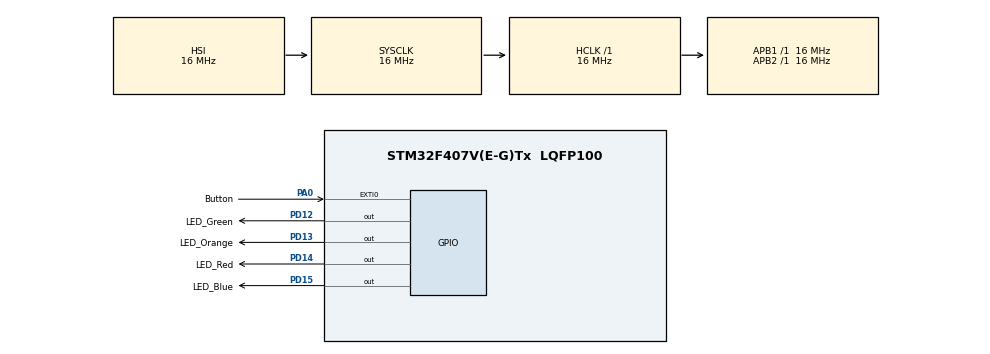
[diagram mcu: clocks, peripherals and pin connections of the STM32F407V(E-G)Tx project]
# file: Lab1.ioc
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Mcu.Family=STM32F4
Mcu.Name=STM32F407V(E-G)Tx
Mcu.Package=LQFP100
NVIC.EXTI0_IRQn=true\:0\:0\:false\:false\:true\:true\:true\:true
NVIC.PriorityGroup=NVIC_PRIORITYGROUP_4
PA0-WKUP.GPIO_Label=Button
PA0-WKUP.Signal=GPXTI0
PA13.Mode=Serial_Wire
PA13.Signal=SYS_JTMS-SWDIO
PA14.Mode=Serial_Wire
PA14.Signal=SYS_JTCK-SWCLK
PD12.GPIO_Label=LED_Green
PD12.Signal=GPIO_Output
PD13.GPIO_Label=LED_Orange
PD13.Signal=GPIO_Output
PD14.GPIO_Label=LED_Red
PD14.Signal=GPIO_Output
PD15.GPIO_Label=LED_Blue
PD15.Signal=GPIO_Output
ProjectManager.HeapSize=0x200
ProjectManager.StackSize=0x400
ProjectManager.TargetToolchain=STM32CubeIDE
RCC.AHBFreq_Value=16000000
RCC.APB1Freq_Value=16000000
RCC.APB2Freq_Value=16000000
RCC.CortexFreq_Value=16000000
RCC.HSE_VALUE=25000000
RCC.HSI_VALUE=16000000
RCC.LSE_VALUE=32768
RCC.SYSCLKFreq_VALUE=16000000
RCC.VCOOutputFreq_Value=192000000
board=custom

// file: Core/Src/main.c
/* USER CODE BEGIN Header */
/**
  ******************************************************************************
  * @file           : main.c
  * @brief          : Main program body
  ******************************************************************************
  * @attention
  *
  * Copyright (c) 2024 STMicroelectronics.
  * All rights reserved.
  *
  * This software is licensed under terms that can be found in the LICENSE file
  * in the root directory of this software component.
  * If no LICENSE file comes with this software, it is provided AS-IS.
  *
  ******************************************************************************
  */
/* USER CODE END Header */
#include "main.h"
#include "gpio.h"

/* USER CODE BEGIN Includes */
#include "leds.h"
/* USER CODE END Includes */

/* USER CODE BEGIN PTD */
typedef enum
{
	FORWARD = 0,
	REVERSE = 1
}direction_e_t;

/*typedef enum
{
	FLAG_TIM6_IT_UPDATE = 0
}flag_e_t; */
/* USER CODE END PTD */

/* USER CODE BEGIN PM */

//#define FLAG_SET(flag) flags |= (1 << flag)
//#define FLAG_RESET(flag) flags &= (~(1 << flag))
//#define FLAG_CHECK(flag) (flags == (1 << flag))

/* USER CODE END PM */

/* USER CODE BEGIN PV */
//uint32_t flags = 0;

static uint32_t timeout = 300;
static direction_e_t diraction = FORWARD;
/* USER CODE END PV */

void SystemClock_Config(void);
/* USER CODE BEGIN PFP */
void LED_Blink(leds_color_e_t color, uint32_t timeout);
void LED_Circle_Blink(direction_e_t direction, uint32_t timeout);
/* USER CODE END PFP */

int main(void)
{

  /* MCU Configuration--------------------------------------------------------*/

  /* Reset of all peripherals, Initializes the Flash interface and the Systick. */
  HAL_Init();

  /* USER CODE BEGIN Init */
  leds_init();
  /* USER CODE END Init */

  /* Configure the system clock */
  SystemClock_Config();

  /* Initialize all configured peripherals */
  MX_GPIO_Init();
  /* USER CODE BEGIN 2 */
  /*htim6.Init.Period = 500;
  HAL_TIM_Base_Init(&htim6);
  HAL_TIM_Base_Start_IT(&htim6);*/

  /* USER CODE END 2 */

  /* Infinite loop */
  /* USER CODE BEGIN WHILE */
  while (1)
  {
	LED_Circle_Blink(diraction, timeout);
    /* USER CODE END WHILE */

  }
}

void SystemClock_Config(void)
{
  RCC_OscInitTypeDef RCC_OscInitStruct = {0};
  RCC_ClkInitTypeDef RCC_ClkInitStruct = {0};

  /** Configure the main internal regulator output voltage
  */
  __HAL_RCC_PWR_CLK_ENABLE();
  __HAL_PWR_VOLTAGESCALING_CONFIG(PWR_REGULATOR_VOLTAGE_SCALE1);

  /** Initializes the RCC Oscillators according to the specified parameters
  * in the RCC_OscInitTypeDef structure.
  */
  RCC_OscInitStruct.OscillatorType = RCC_OSCILLATORTYPE_HSI;
  RCC_OscInitStruct.HSIState = RCC_HSI_ON;
  RCC_OscInitStruct.HSICalibrationValue = RCC_HSICALIBRATION_DEFAULT;
  RCC_OscInitStruct.PLL.PLLState = RCC_PLL_NONE;
  if (HAL_RCC_OscConfig(&RCC_OscInitStruct) != HAL_OK)
  {
    Error_Handler();
  }

  /** Initializes the CPU, AHB and APB buses clocks
  */
  RCC_ClkInitStruct.ClockType = RCC_CLOCKTYPE_HCLK|RCC_CLOCKTYPE_SYSCLK
                              |RCC_CLOCKTYPE_PCLK1|RCC_CLOCKTYPE_PCLK2;
  RCC_ClkInitStruct.SYSCLKSource = RCC_SYSCLKSOURCE_HSI;
  RCC_ClkInitStruct.AHBCLKDivider = RCC_SYSCLK_DIV1;
  RCC_ClkInitStruct.APB1CLKDivider = RCC_HCLK_DIV1;
  RCC_ClkInitStruct.APB2CLKDivider = RCC_HCLK_DIV1;

  if (HAL_RCC_ClockConfig(&RCC_ClkInitStruct, FLASH_LATENCY_0) != HAL_OK)
  {
    Error_Handler();
  }
}

/* USER CODE BEGIN 4 */
void LED_Blink(leds_color_e_t color, uint32_t timeout)
{
	leds_set(color, ON);
	HAL_Delay(timeout);
	leds_set(color, OFF);
	HAL_Delay(timeout);
}

void LED_Circle_Blink(direction_e_t direction, uint32_t timeout)
{
	switch (direction)
	{
	    case FORWARD:
	    	LED_Blink(GREEN, timeout);
	    	LED_Blink(ORANGE, timeout);
	    	LED_Blink(RED, timeout);
	    	LED_Blink(BLUE, timeout);
	    	break;

	    case REVERSE:
	    	LED_Blink(BLUE, timeout);
	    	LED_Blink(RED, timeout);
	    	LED_Blink(ORANGE, timeout);
	    	LED_Blink(GREEN, timeout);
	    	break;
	}
}

void HAL_GPIO_EXTI_Callback(uint16_t GPIO_Pin)
{
	if (GPIO_Pin == Button_Pin)
	{
		diraction = !diraction;
	}
}

/*void HAL_TIM_PriodElapsedCallback(TIM_HandleTypeDef *htim)
{
	if (htim == &htim6)
	{

	}
}*/

/* USER CODE END 4 */

void Error_Handler(void)
{
  __disable_irq();
  while (1)
  {
  }
}
